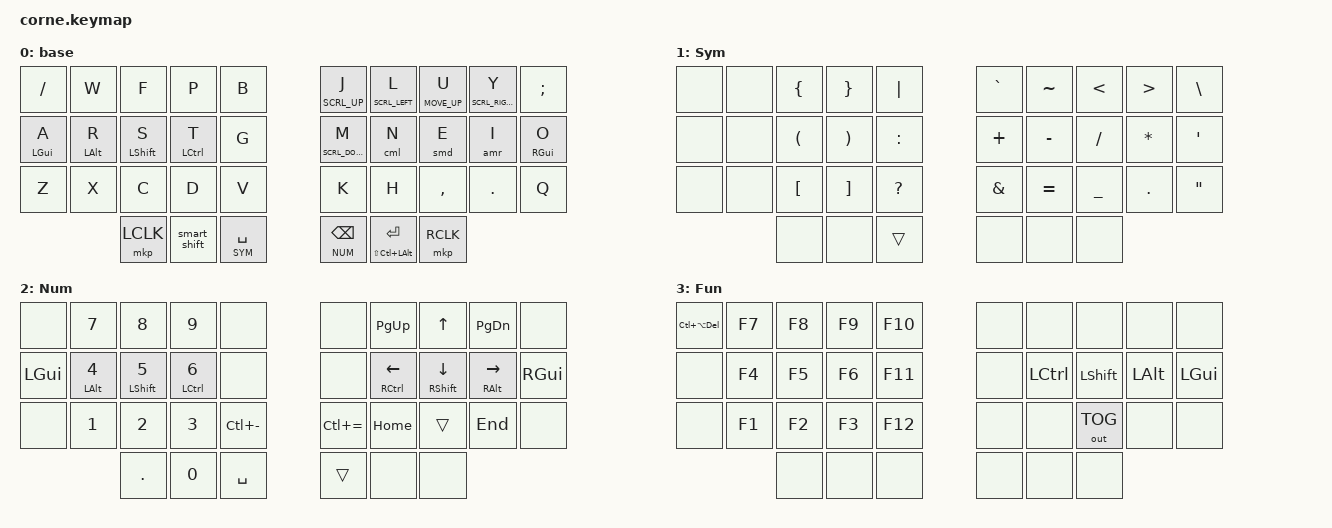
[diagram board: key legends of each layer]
#include <behaviors.dtsi>
#include <dt-bindings/zmk/bt.h>
#include <dt-bindings/zmk/keys.h>
#include <dt-bindings/zmk/pointing.h>
#include <dt-bindings/zmk/outputs.h>

#define DEF 0
#define SYM 1
#define NUM 2
#define FN 3

#define KEYS_L 0 1 2 3 4 10 11 12 13 14 20 21 22 23 24  
#define KEYS_R 5 6 7 8 9 15 16 17 18 19 25 26 27 28 29
#define THUMBS 30 31 32 33 34 35 36

&sk {
    release-after-ms = <600>;
    quick-release;
};

&sl { ignore-modifiers; };

&mt { flavor = "tap-preferred"; };

&mmv { time-to-max-speed-ms = <1500>; };

&msc { time-to-max-speed-ms = <5000>; };

/ {
    chosen { zmk,physical-layout = &foostan_corne_5col_layout; };

  combos {
    compatible = "zmk,combos";
    combo_normal {
      timeout-ms = <20>;
      key-positions = <7 8>;
      bindings = <&to DEF>;
    };

    combo_fn {
      timeout-ms = <20>;
      key-positions = <27 28>;
      bindings = <&sl FN>;
    };
    combo_esc {
      timeout-ms = <20>;
      key-positions = <1 2>;
      bindings = <&kp ESCAPE>;
    };
    combo_tab {
      timeout-ms = <20>;
      key-positions = <2 3>;
      bindings = <&kp TAB>;
    };
    combo_cdel {
      timeout-ms = <20>;
      key-positions = <11 12>;
      bindings = <&kp LC(BACKSPACE)>;
    };
    combo_unlock {
      timeout-ms = <20>;
      key-positions = <0 4>;
      bindings = <&studio_unlock>;
    };
    combo_reset_left {
      timeout-ms = <20>;
      key-positions = <20 24>;
      bindings = <&sys_reset>;
    };
    combo_reset_right {
      timeout-ms = <20>;
      key-positions = <25 29>;
      bindings = <&sys_reset>;
    };
  };

    macros {
        cml: cml {
            compatible = "zmk,behavior-macro";
            #binding-cells = <0>;
            wait-ms = <0>;
            tap-ms = <0>;
            bindings =
                <&macro_press &mmv MOVE_LEFT &kp RCTRL>,
                <&macro_pause_for_release>,
                <&macro_release &mmv MOVE_LEFT &kp RCTRL>;
            label = "CML";
        };

        smd: smd {
            compatible = "zmk,behavior-macro";
            #binding-cells = <0>;
            wait-ms = <0>;
            tap-ms = <0>;
            bindings =
                <&macro_press &mmv MOVE_DOWN &kp RSHFT>,
                <&macro_pause_for_release>,
                <&macro_release &mmv MOVE_DOWN &kp RSHFT>;
            label = "SMD";
        };

        amr: amr {
            compatible = "zmk,behavior-macro";
            #binding-cells = <0>;
            wait-ms = <0>;
            tap-ms = <0>;
            bindings =
                <&macro_press &mmv MOVE_RIGHT &kp RALT>,
                <&macro_pause_for_release>,
                <&macro_release &mmv MOVE_RIGHT &kp RALT>;
            label = "AMR";
        };
    };

    behaviors {
        hml: hml {
            compatible = "zmk,behavior-hold-tap";
            label = "HML";
            bindings = <&kp>, <&kp>;
            #binding-cells = <2>;
            flavor = "balanced";
            tapping-term-ms = <280>;
            require-prior-idle-ms = <250>;
            quick-tap-ms = <150>;
            hold-trigger-key-positions = <KEYS_R THUMBS>;
            hold-trigger-on-release;
        };

        hmr: hmr {
            compatible = "zmk,behavior-hold-tap";
            label = "HMR";
            bindings = <&kp>, <&kp>;
            #binding-cells = <2>;
            flavor = "balanced";
            tapping-term-ms = <280>;
            require-prior-idle-ms = <250>;
            quick-tap-ms = <150>;
            hold-trigger-on-release;
            hold-trigger-key-positions = <KEYS_L THUMBS>;
        };

        hml_s: hml_s {
            compatible = "zmk,behavior-hold-tap";
            label = "HML";
            bindings = <&kp>, <&kp>;
            #binding-cells = <2>;
            flavor = "balanced";
            tapping-term-ms = <280>;
            require-prior-idle-ms = <0>;
            quick-tap-ms = <150>;
            hold-trigger-key-positions = <KEYS_R THUMBS>;
            hold-trigger-on-release;
        };

        hmr_s: hmr_s {
            compatible = "zmk,behavior-hold-tap";
            label = "HMR";
            bindings = <&kp>, <&kp>;
            #binding-cells = <2>;
            flavor = "balanced";
            tapping-term-ms = <280>;
            require-prior-idle-ms = <0>;
            quick-tap-ms = <150>;
            hold-trigger-on-release;
            hold-trigger-key-positions = <KEYS_L THUMBS>;
        };


        hmr_cml: hmr_cml {
            compatible = "zmk,behavior-hold-tap";
            label = "HMR_CML";
            bindings = <&cml>, <&kp>;
            #binding-cells = <2>;
            flavor = "balanced";
            tapping-term-ms = <280>;
            require-prior-idle-ms = <250>;
            quick-tap-ms = <150>;
            hold-trigger-on-release;
            hold-trigger-key-positions = <KEYS_L THUMBS>;
        };

        hmr_smd: hmr_smd {
            compatible = "zmk,behavior-hold-tap";
            label = "HMR_SMD";
            bindings = <&smd>, <&kp>;
            #binding-cells = <2>;
            flavor = "balanced";
            tapping-term-ms = <280>;
            require-prior-idle-ms = <250>;
            quick-tap-ms = <150>;
            hold-trigger-on-release;
            hold-trigger-key-positions = <KEYS_L THUMBS>;
        };

        hmr_amr: hmr_amr {
            compatible = "zmk,behavior-hold-tap";
            label = "HMR_AMR";
            bindings = <&amr>, <&kp>;
            #binding-cells = <2>;
            flavor = "balanced";
            tapping-term-ms = <280>;
            require-prior-idle-ms = <250>;
            quick-tap-ms = <150>;
            hold-trigger-on-release;
            hold-trigger-key-positions = <KEYS_L THUMBS>;
        };

        mt_mouse: mt_mouse {
            compatible = "zmk,behavior-hold-tap";
            label = "MT_MOUSE";
            flavor = "tap-preferred";
            bindings = <&mmv>, <&kp>;
            #binding-cells = <2>;
            tapping-term-ms = <200>;
            quick-tap-ms = <150>;
        };

        mt_wheel: mt_wheel {
            compatible = "zmk,behavior-hold-tap";
            label = "MT_WHEEL";
            flavor = "tap-preferred";
            bindings = <&msc>, <&kp>;
            #binding-cells = <2>;
            tapping-term-ms = <200>;
            quick-tap-ms = <150>;
        };

        smart_shift: smart_shift {
            compatible = "zmk,behavior-mod-morph";
            label = "SMART_SHIFT";
            bindings = <&sk LEFT_SHIFT>, <&caps_word>;
            #binding-cells = <0>;
            mods = <(MOD_LSFT)>;
        };
    };

    keymap {
        compatible = "zmk,keymap";
        base {
            bindings = <
&kp FSLH       &kp W          &kp F           &kp P                &kp B          &mt_wheel SCRL_UP J    &mt_wheel SCRL_LEFT L  &mt_mouse MOVE_UP U  &mt_wheel SCRL_RIGHT Y  &kp SEMI
&hml LGUI A    &hml LALT R    &hml LSHFT S    &hml LCTRL T         &kp G          &mt_wheel SCRL_DOWN M  &hmr_cml 0 N           &hmr_smd 0 E         &hmr_amr 0 I            &hmr RIGHT_GUI O
&kp Z          &kp X           &kp C          &kp D                &kp V          &kp K                  &kp H                  &kp COMMA            &kp DOT                 &kp Q           
                           &mkp LCLK  &smart_shift  &lt SYM SPACE    &lt NUM BACKSPACE        &mt LS(LC(LEFT_ALT)) ENTER              &mkp RCLK
            >;
        };
    Sym {
      bindings = <
        &none    &none    &kp LEFT_BRACE          &kp RIGHT_BRACE          &kp PIPE         &kp GRAVE    &kp TILDE    &kp LESS_THAN    &kp GREATER_THAN    &kp BACKSLASH        
        &none    &none    &kp LEFT_PARENTHESIS    &kp RIGHT_PARENTHESIS    &kp COLON        &kp PLUS     &kp MINUS    &kp SLASH        &kp ASTRK           &kp SINGLE_QUOTE    
        &none    &none    &kp LEFT_BRACKET        &kp RIGHT_BRACKET        &kp QUESTION     &kp AMPS     &kp EQUAL    &kp UNDER        &kp PERIOD          &kp DOUBLE_QUOTES  
        &none                   &none                    &trans           &none        &none    &none                                                                 
      >;
    };
    Num {
      bindings = <
        &none      &kp N7          &kp N8           &kp N9           &none            &none              &kp PG_UP          &kp UP             &kp PG_DN          &none          
        &kp LGUI   &hml_s LALT N4    &hml_s LSHFT N5    &hml_s LCTRL N6    &none            &none              &hmr_s RCTRL LEFT    &hmr_s RSHFT DOWN    &hmr_s RALT RIGHT    &kp RGUI     
        &none      &kp N1          &kp N2           &kp N3           &kp LC(MINUS)    &kp LC(EQUAL)      &kp HOME           &trans             &kp END            &none          
        &kp DOT         &kp N0           &kp SPACE    &trans              &none  &none
      >;
    };
    Fun {
      bindings = <
        &kp LC(LA(DEL))    &kp F7    &kp F8    &kp F9         &kp F10        &none         &none           &none           &none           &none             
        &none              &kp F4    &kp F5    &kp F6         &kp F11        &none         &kp LCTRL     &kp LSHFT       &kp LALT        &kp LGUI         
        &none              &kp F1    &kp F2    &kp F3         &kp F12        &none         &none           &out OUT_TOG    &none           &none  
        &none     &none &none &none &none  &none
      >;
    };
  };
};
